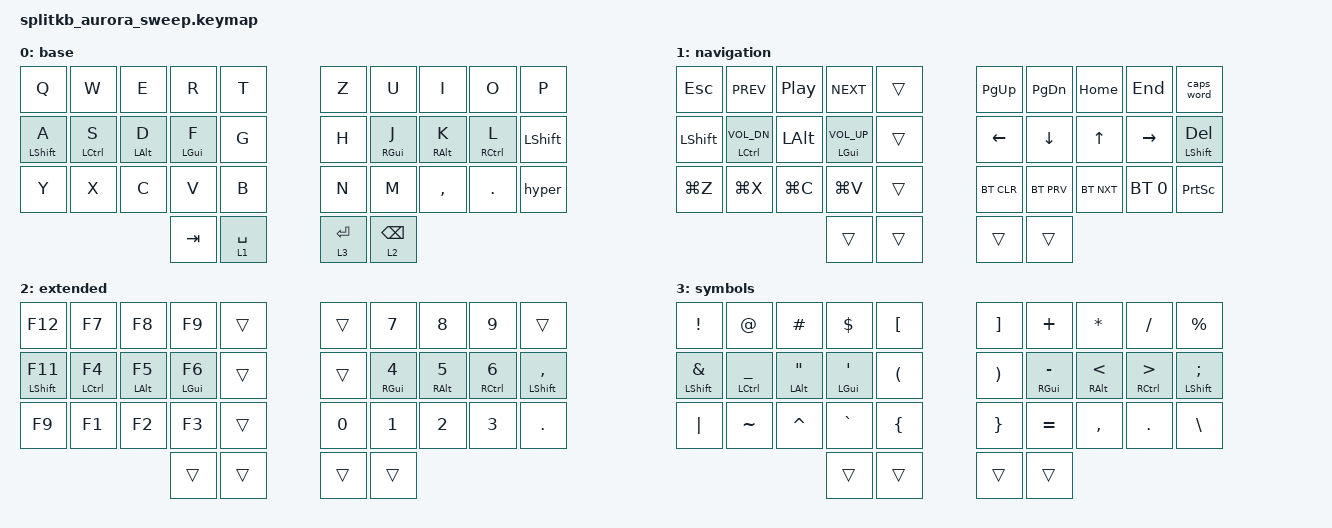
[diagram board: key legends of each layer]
#include <behaviors.dtsi>
#include <dt-bindings/zmk/bt.h>
#include <dt-bindings/zmk/keys.h>

&mt {
    flavor = "tap-preferred";
    tapping_term_ms = <140>;
};

/ {
    macros {
        hyper: hyper {
            compatible = "zmk,behavior-macro";
            #binding-cells = <0>;
            bindings =
                <&macro_press>,
                <&kp LEFT_SHIFT &kp LEFT_CONTROL &kp LEFT_ALT &kp LEFT_GUI>,
                <&macro_pause_for_release>,
                <&macro_release>,
                <&kp LEFT_SHIFT &kp LEFT_CONTROL &kp LEFT_ALT &kp LEFT_GUI>;

            label = "HYPER";
        };
    };

    keymap {
        compatible = "zmk,keymap";

        base {
            bindings = <
&kp Q          &kp W        &kp E       &kp R       &kp T    &kp Z  &kp U       &kp I       &kp O        &kp P
&mt LSHFT A    &mt LCTRL S  &mt LALT D  &mt LGUI F  &kp G    &kp H  &mt RGUI J  &mt RALT K  &mt RCTRL L  &kp LSHFT
&kp Y          &kp X        &kp C       &kp V       &kp B    &kp N  &kp M       &kp COMMA   &kp DOT      &hyper
&kp TAB        &lt 1 SPACE                                                                  &lt 3 RET    &lt 2 BACKSPACE
            >;
        };

        navigation {
            bindings = <
&kp ESC    &kp C_PREV          &kp C_PLAY_PAUSE  &kp C_NEXT         &trans    &kp PAGE_UP  &kp PAGE_DOWN  &kp HOME    &kp END       &caps_word
&kp LSHFT  &mt LCTRL C_VOL_DN  &kp LALT          &mt LGUI C_VOL_UP  &trans    &kp LEFT     &kp DOWN       &kp UP      &kp RIGHT     &mt LSHFT DEL
&kp LG(Z)  &kp LG(X)           &kp LG(C)         &kp LG(V)          &trans    &bt BT_CLR   &bt BT_PRV     &bt BT_NXT  &bt BT_SEL 0  &kp PRINTSCREEN
&trans     &trans                                                                                                     &trans        &trans
            >;
        };

        extended {
            bindings = <
&kp F12        &kp F7        &kp F8       &kp F9       &trans    &trans  &kp N7       &kp N8       &kp N9        &trans
&mt LSHFT F11  &mt LCTRL F4  &mt LALT F5  &mt LGUI F6  &trans    &trans  &mt RGUI N4  &mt RALT N5  &mt RCTRL N6  &mt LSHFT COMMA
&kp F9         &kp F1        &kp F2       &kp F3       &trans    &kp N0  &kp N1       &kp N2       &kp N3        &kp DOT
&trans         &trans                                                                              &trans        &trans
            >;
        };

        symbols {
            bindings = <
&kp EXCLAMATION  &kp AT_SIGN      &kp POUND     &kp DOLLAR    &kp LBKT    &kp RBKT  &kp PLUS        &kp ASTRK    &kp FSLH                &kp PRCNT
&mt LSHFT AMPS   &mt LCTRL UNDER  &mt LALT DQT  &mt LGUI SQT  &kp LPAR    &kp RPAR  &mt RGUI MINUS  &mt RALT LT  &mt RCTRL GREATER_THAN  &mt LSHFT SEMI
&kp PIPE         &kp TILDE        &kp CARET     &kp GRAVE     &kp LBRC    &kp RBRC  &kp EQUAL       &kp COMMA    &kp DOT                 &kp BSLH
&trans           &trans                                                                                          &trans                  &trans
            >;
        };
    };
};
